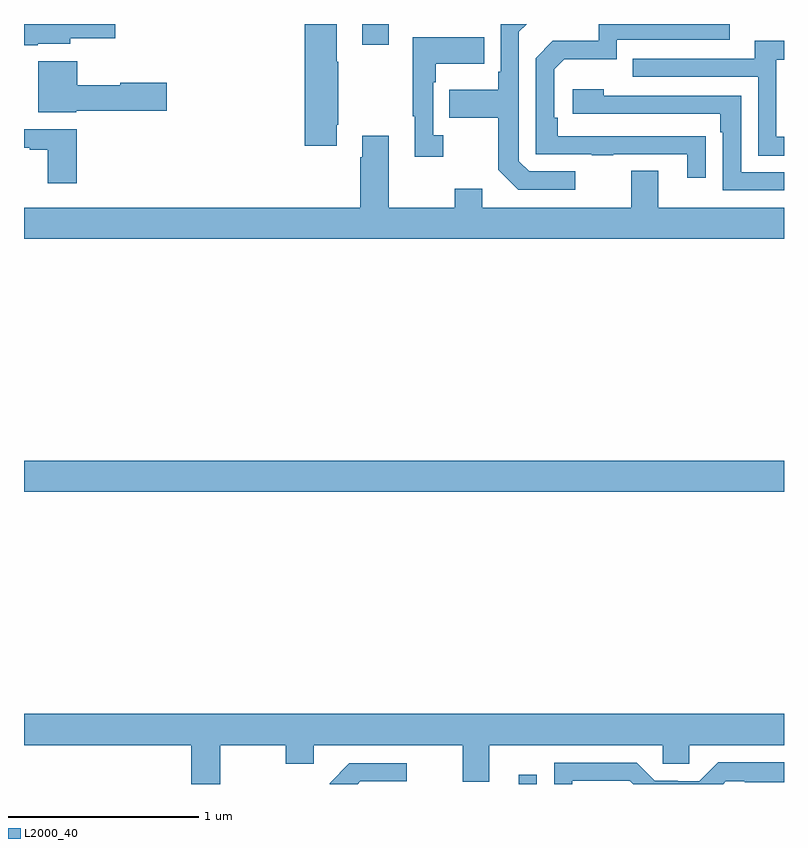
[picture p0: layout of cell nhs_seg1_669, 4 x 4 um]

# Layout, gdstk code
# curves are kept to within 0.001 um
import gdstk
lib = gdstk.Library(unit=1e-6, precision=1e-09)
def R(c, l, rs):  # rectangles x0, y0, x1, y1
    for r in rs: c.add(gdstk.rectangle(r[:2], r[2:], *l))
def P(c, l, *ps):  # polygons
    for p in ps: c.add(gdstk.Polygon(p, *l))
L2000_40 = (2000, 40)

nhs_seg1_669 = lib.new_cell('nhs_seg1_669')
R(nhs_seg1_669, L2000_40, [(149.603,546.199,149.699,546.247), (147,547.736,151,547.9), (148.781,550.089,148.921,550.199)])
P(nhs_seg1_669, L2000_40, [(149.902,549.423),(149.658,549.423),(149.604,549.477),(149.604,550.158),(149.645,550.199),(149.508,550.199),(149.508,549.949),(149.496,549.949),(149.496,549.853),(149.239,549.853),(149.239,549.706),(149.496,549.706),(149.496,549.433),(149.601,549.327),(149.902,549.327)],
  [(148.645,549.67),(148.653,549.67),(148.653,550.001),(148.645,550.001),(148.645,550.199),(148.478,550.199),(148.478,549.558),(148.645,549.558)],
  [(147.072,550.094),(147.244,550.094),(147.244,550.124),(147.481,550.124),(147.481,550.199),(147,550.199),(147,550.088),(147.072,550.088)],
  [(150.587,549.608),(149.81,549.609),(149.81,549.706),(149.79,549.706),(149.79,549.96),(149.843,550.013),(150.12,550.013),(150.12,550.116),(150.715,550.116),(150.715,550.199),(150.024,550.199),(150.024,550.11),(149.784,550.11),(149.694,550.02),(149.694,549.513),(149.989,549.513),(149.989,549.508),(150.101,549.508),(150.101,549.513),(150.491,549.513),(150.491,549.39),(150.587,549.39)],
  [(149.206,549.614),(149.154,549.614),(149.154,549.893),(149.167,549.893),(149.167,549.989),(149.423,549.989),(149.423,550.129),(149.046,550.129),(149.046,549.713),(149.057,549.713),(149.057,549.501),(149.206,549.501)],
  [(151,549.606),(150.96,549.606),(150.96,550.011),(151,550.011),(151,550.111),(150.845,550.111),(150.845,550.017),(150.205,550.017),(150.205,549.921),(150.864,549.921),(150.864,549.505),(151,549.505)],
  [(147.276,549.743),(147.751,549.743),(147.751,549.89),(147.507,549.89),(147.507,549.877),(147.28,549.877),(147.28,550.004),(147.074,550.004),(147.074,549.734),(147.276,549.734)],
  [(151,549.42),(150.774,549.42),(150.774,549.822),(150.05,549.822),(150.05,549.856),(149.889,549.856),(149.889,549.726),(150.665,549.726),(150.665,549.629),(150.678,549.629),(150.678,549.324),(151,549.324)],
  [(147.278,549.646),(147,549.646),(147,549.549),(147.029,549.549),(147.029,549.537),(147.125,549.537),(147.125,549.36),(147.278,549.36)],
  [(151,549.232),(150.337,549.232),(150.337,549.427),(150.197,549.427),(150.197,549.232),(149.413,549.232),(149.413,549.331),(149.266,549.331),(149.266,549.232),(148.921,549.232),(148.921,549.61),(148.781,549.61),(148.781,549.497),(148.769,549.497),(148.769,549.232),(147,549.232),(147,549.068),(151,549.068)],
  [(148.033,546.404),(148.378,546.404),(148.378,546.305),(148.525,546.305),(148.525,546.404),(149.309,546.404),(149.309,546.21),(149.449,546.21),(149.449,546.404),(150.363,546.404),(150.363,546.306),(150.501,546.306),(150.501,546.404),(151,546.404),(151,546.568),(147,546.568),(147,546.404),(147.881,546.404),(147.881,546.199),(148.033,546.199)],
  [(149.886,546.216),(150.189,546.216),(150.206,546.199),(150.679,546.199),(150.693,546.213),(150.793,546.213),(150.793,546.209),(151,546.209),(151,546.313),(150.655,546.313),(150.555,546.213),(150.44,546.213),(150.44,546.216),(150.321,546.216),(150.225,546.312),(149.79,546.312),(149.79,546.199),(149.886,546.199)],
  [(148.77,546.213),(149.014,546.213),(149.014,546.309),(148.713,546.309),(148.608,546.203),(148.608,546.199),(148.756,546.199)])

lib.write_gds('nhs_seg1_669.gds')
